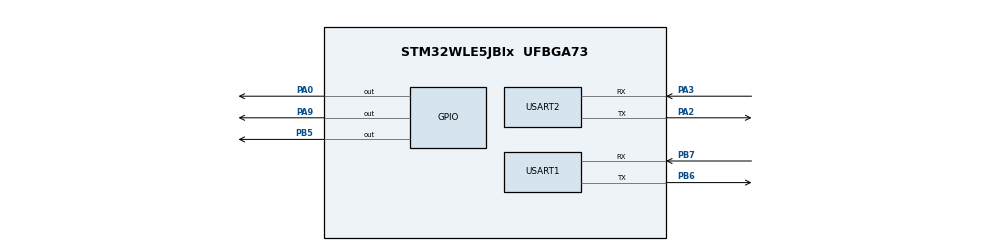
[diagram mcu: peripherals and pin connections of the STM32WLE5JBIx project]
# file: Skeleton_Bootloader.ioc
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Mcu.Family=STM32WL
Mcu.Name=STM32WLE5JBIx
Mcu.Package=UFBGA73
NVIC.PriorityGroup=NVIC_PRIORITYGROUP_4
NVIC.USART1_IRQn=true\:0\:0\:false\:false\:true\:true\:true\:true
NVIC.USART2_IRQn=true\:0\:0\:false\:false\:true\:true\:true\:true
OSC_IN.Mode=HSE-External-Oscillator
OSC_IN.Signal=RCC_OSC_IN
OSC_OUT.Mode=HSE-External-Oscillator
OSC_OUT.Signal=RCC_OSC_OUT
PA0.Signal=GPIO_Output
PA2.Mode=Asynchronous
PA2.Signal=USART2_TX
PA3.Mode=Asynchronous
PA3.Signal=USART2_RX
PA9.Signal=GPIO_Output
PB5.Signal=GPIO_Output
PB6.Mode=Asynchronous
PB6.Signal=USART1_TX
PB7.Mode=Asynchronous
PB7.Signal=USART1_RX
PC14-OSC32_IN.Mode=LSE-External-Oscillator
PC14-OSC32_IN.Signal=RCC_OSC32_IN
PC15-OSC32_OUT.Mode=LSE-External-Oscillator
PC15-OSC32_OUT.Signal=RCC_OSC32_OUT
ProjectManager.HeapSize=0x200
ProjectManager.StackSize=0x400
ProjectManager.TargetToolchain=MDK-ARM V5.37
RCC.HSE_VALUE=8000000
RCC.HSI_VALUE=16000000
RCC.LSE_VALUE=32768
RCC.PREFETCH_ENABLE=1
RCC.VCOOutputFreq_Value=32000000
USART1.VirtualMode-Asynchronous=VM_ASYNC
USART2.VirtualMode-Asynchronous=VM_ASYNC
VP_CRC_VS_CRC.Mode=CRC_Activate
board=custom

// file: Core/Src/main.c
/* USER CODE BEGIN Header */
/**
  ******************************************************************************
  * @file           : main.c
  * @brief          : Main program body
  ******************************************************************************
  * @attention
  *
  * Copyright (c) 2025 STMicroelectronics.
  * All rights reserved.
  *
  * This software is licensed under terms that can be found in the LICENSE file
  * in the root directory of this software component.
  * If no LICENSE file comes with this software, it is provided AS-IS.
  *
  ******************************************************************************
  */
/* USER CODE END Header */
#include "main.h"

/* USER CODE BEGIN Includes */
#include "r_startup.h"
#include "r_uart_callback.h"
/* USER CODE END Includes */

CRC_HandleTypeDef hcrc;

UART_HandleTypeDef huart1;
UART_HandleTypeDef huart2;

/* USER CODE BEGIN PV */
extern volatile uint8_t s_rx_byte;
extern volatile uint8_t s_packet_ready;

UART_HandleTypeDef *p_uart = &huart2;

/* USER CODE END PV */

void SystemClock_Config(void);
static void MX_GPIO_Init(void);
static void MX_CRC_Init(void);
static void MX_USART1_UART_Init(void);
static void MX_USART2_UART_Init(void);

int main(void)
{

  /* MCU Configuration--------------------------------------------------------*/

  /* Reset of all peripherals, Initializes the Flash interface and the Systick. */
  HAL_Init();

  /* Configure the system clock */
  SystemClock_Config();

  /* USER CODE BEGIN SysInit */
	__enable_irq();
  /* USER CODE END SysInit */

  /* Initialize all configured peripherals */
  MX_GPIO_Init();
  MX_CRC_Init();
  MX_USART1_UART_Init();
  MX_USART2_UART_Init();
  /* USER CODE BEGIN 2 */

	//HAL_UART_Receive_IT(&huart1, &s_rx_byte, 1);
	HAL_UART_Receive_IT(p_uart, (uint8_t *)&s_rx_byte, 1);

	// Checks for updates and Jumps to program
	// Visual indication (blink sequence on PA9)
	r_led_burst();

	 // Initialize EEPROM if necessary
	r_init_eeprom_if_needed();

	// We get the EEPROM so we can see the state of it
	//r_set_eeprom_flags(FLAG_VALUE_TRUE, 0xFFFFFFFF, 0xFFFFFFFF, 0xFFFFFFFF, 0xFFFFFFFF);
	EEPROM_Emu_Data ee_eeprom = r_read_eeprom_data();

	if (ee_eeprom.flag_update == FLAG_VALUE_TRUE)
	{
		uint8_t msg[] = "ACK\n";
		HAL_UART_Transmit(p_uart, msg, sizeof(msg), HAL_MAX_DELAY);
	}

  /* USER CODE END 2 */

  /* Infinite loop */
  /* USER CODE BEGIN WHILE */
  while (1)
  {
		if(s_packet_ready != 0){

			if(ee_eeprom.flag_block_updates != FLAG_VALUE_TRUE)
			{
				if (ee_eeprom.flag_update == FLAG_VALUE_TRUE)
				{
					r_receive_update();
					s_packet_ready = 0;
				}
			}
		}

		if(ee_eeprom.flag_update == FLAG_VALUE_FALSE)
		{
			r_go_to_app(APP_A_ADDRESS);
		}
    /* USER CODE END WHILE */

  }
}

void SystemClock_Config(void)
{
  RCC_OscInitTypeDef RCC_OscInitStruct = {0};
  RCC_ClkInitTypeDef RCC_ClkInitStruct = {0};

  /** Configure LSE Drive Capability
  */
  HAL_PWR_EnableBkUpAccess();
  __HAL_RCC_LSEDRIVE_CONFIG(RCC_LSEDRIVE_LOW);

  /** Configure the main internal regulator output voltage
  */
  __HAL_PWR_VOLTAGESCALING_CONFIG(PWR_REGULATOR_VOLTAGE_SCALE2);

  /** Initializes the CPU, AHB and APB buses clocks
  */
  RCC_OscInitStruct.OscillatorType = RCC_OSCILLATORTYPE_LSE|RCC_OSCILLATORTYPE_MSI;
  RCC_OscInitStruct.LSEState = RCC_LSE_ON;
  RCC_OscInitStruct.MSIState = RCC_MSI_ON;
  RCC_OscInitStruct.MSICalibrationValue = RCC_MSICALIBRATION_DEFAULT;
  RCC_OscInitStruct.MSIClockRange = RCC_MSIRANGE_6;
  RCC_OscInitStruct.PLL.PLLState = RCC_PLL_NONE;
  if (HAL_RCC_OscConfig(&RCC_OscInitStruct) != HAL_OK)
  {
    Error_Handler();
  }

  /** Configure the SYSCLKSource, HCLK, PCLK1 and PCLK2 clocks dividers
  */
  RCC_ClkInitStruct.ClockType = RCC_CLOCKTYPE_HCLK3|RCC_CLOCKTYPE_HCLK
                              |RCC_CLOCKTYPE_SYSCLK|RCC_CLOCKTYPE_PCLK1
                              |RCC_CLOCKTYPE_PCLK2;
  RCC_ClkInitStruct.SYSCLKSource = RCC_SYSCLKSOURCE_MSI;
  RCC_ClkInitStruct.AHBCLKDivider = RCC_SYSCLK_DIV1;
  RCC_ClkInitStruct.APB1CLKDivider = RCC_HCLK_DIV1;
  RCC_ClkInitStruct.APB2CLKDivider = RCC_HCLK_DIV1;
  RCC_ClkInitStruct.AHBCLK3Divider = RCC_SYSCLK_DIV1;

  if (HAL_RCC_ClockConfig(&RCC_ClkInitStruct, FLASH_LATENCY_0) != HAL_OK)
  {
    Error_Handler();
  }
}

static void MX_CRC_Init(void)
{

  hcrc.Instance = CRC;
  hcrc.Init.DefaultPolynomialUse = DEFAULT_POLYNOMIAL_ENABLE;
  hcrc.Init.DefaultInitValueUse = DEFAULT_INIT_VALUE_ENABLE;
  hcrc.Init.InputDataInversionMode = CRC_INPUTDATA_INVERSION_NONE;
  hcrc.Init.OutputDataInversionMode = CRC_OUTPUTDATA_INVERSION_DISABLE;
  hcrc.InputDataFormat = CRC_INPUTDATA_FORMAT_BYTES;
  if (HAL_CRC_Init(&hcrc) != HAL_OK)
  {
    Error_Handler();
  }

}

static void MX_USART1_UART_Init(void)
{

  huart1.Instance = USART1;
  huart1.Init.BaudRate = 115200;
  huart1.Init.WordLength = UART_WORDLENGTH_8B;
  huart1.Init.StopBits = UART_STOPBITS_1;
  huart1.Init.Parity = UART_PARITY_NONE;
  huart1.Init.Mode = UART_MODE_TX_RX;
  huart1.Init.HwFlowCtl = UART_HWCONTROL_NONE;
  huart1.Init.OverSampling = UART_OVERSAMPLING_16;
  huart1.Init.OneBitSampling = UART_ONE_BIT_SAMPLE_DISABLE;
  huart1.Init.ClockPrescaler = UART_PRESCALER_DIV1;
  huart1.AdvancedInit.AdvFeatureInit = UART_ADVFEATURE_NO_INIT;
  if (HAL_UART_Init(&huart1) != HAL_OK)
  {
    Error_Handler();
  }
  if (HAL_UARTEx_SetTxFifoThreshold(&huart1, UART_TXFIFO_THRESHOLD_1_8) != HAL_OK)
  {
    Error_Handler();
  }
  if (HAL_UARTEx_SetRxFifoThreshold(&huart1, UART_RXFIFO_THRESHOLD_1_8) != HAL_OK)
  {
    Error_Handler();
  }
  if (HAL_UARTEx_DisableFifoMode(&huart1) != HAL_OK)
  {
    Error_Handler();
  }

}

static void MX_USART2_UART_Init(void)
{

  huart2.Instance = USART2;
  huart2.Init.BaudRate = 115200;
  huart2.Init.WordLength = UART_WORDLENGTH_8B;
  huart2.Init.StopBits = UART_STOPBITS_1;
  huart2.Init.Parity = UART_PARITY_NONE;
  huart2.Init.Mode = UART_MODE_TX_RX;
  huart2.Init.HwFlowCtl = UART_HWCONTROL_NONE;
  huart2.Init.OverSampling = UART_OVERSAMPLING_16;
  huart2.Init.OneBitSampling = UART_ONE_BIT_SAMPLE_DISABLE;
  huart2.Init.ClockPrescaler = UART_PRESCALER_DIV1;
  huart2.AdvancedInit.AdvFeatureInit = UART_ADVFEATURE_NO_INIT;
  if (HAL_UART_Init(&huart2) != HAL_OK)
  {
    Error_Handler();
  }
  if (HAL_UARTEx_SetTxFifoThreshold(&huart2, UART_TXFIFO_THRESHOLD_1_8) != HAL_OK)
  {
    Error_Handler();
  }
  if (HAL_UARTEx_SetRxFifoThreshold(&huart2, UART_RXFIFO_THRESHOLD_1_8) != HAL_OK)
  {
    Error_Handler();
  }
  if (HAL_UARTEx_DisableFifoMode(&huart2) != HAL_OK)
  {
    Error_Handler();
  }

}

static void MX_GPIO_Init(void)
{
  GPIO_InitTypeDef GPIO_InitStruct = {0};

  /* GPIO Ports Clock Enable */
  __HAL_RCC_GPIOC_CLK_ENABLE();
  __HAL_RCC_GPIOB_CLK_ENABLE();
  __HAL_RCC_GPIOA_CLK_ENABLE();

  /*Configure GPIO pin Output Level */
  HAL_GPIO_WritePin(GPIOB, GPIO_PIN_5, GPIO_PIN_SET);

  /*Configure GPIO pin Output Level */
  HAL_GPIO_WritePin(GPIOA, GPIO_PIN_0|GPIO_PIN_9, GPIO_PIN_SET);

  /*Configure GPIO pin : PB5 */
  GPIO_InitStruct.Pin = GPIO_PIN_5;
  GPIO_InitStruct.Mode = GPIO_MODE_OUTPUT_PP;
  GPIO_InitStruct.Pull = GPIO_NOPULL;
  GPIO_InitStruct.Speed = GPIO_SPEED_FREQ_LOW;
  HAL_GPIO_Init(GPIOB, &GPIO_InitStruct);

  /*Configure GPIO pins : PA0 PA9 */
  GPIO_InitStruct.Pin = GPIO_PIN_0|GPIO_PIN_9;
  GPIO_InitStruct.Mode = GPIO_MODE_OUTPUT_PP;
  GPIO_InitStruct.Pull = GPIO_NOPULL;
  GPIO_InitStruct.Speed = GPIO_SPEED_FREQ_LOW;
  HAL_GPIO_Init(GPIOA, &GPIO_InitStruct);

}

void Error_Handler(void)
{
  __disable_irq();
  while (1)
  {
  }
}
